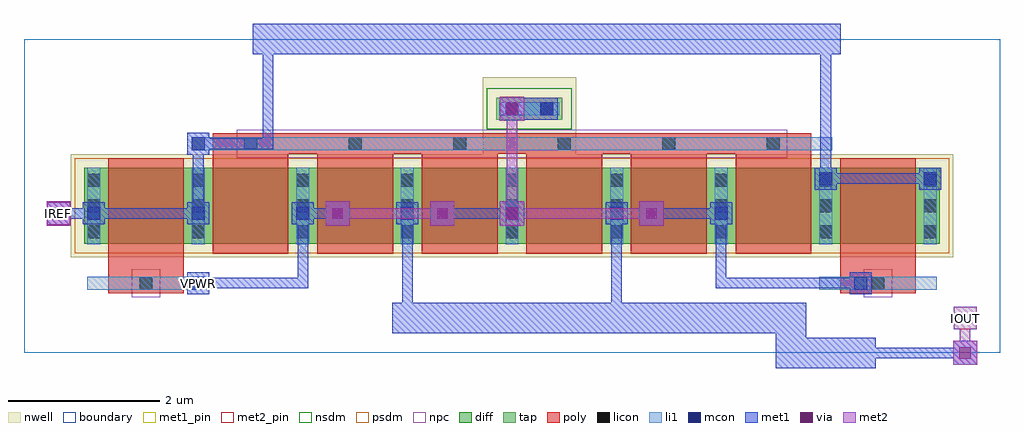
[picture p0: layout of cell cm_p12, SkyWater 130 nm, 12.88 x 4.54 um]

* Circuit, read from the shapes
.subckt cm_p12 IOUT IREF VPWR
XM1 IREF VPWR IREF VPWR sky130_fd_pr__pfet_01v8 w=1 l=1 m=2
XM2 VPWR IREF IREF VPWR sky130_fd_pr__pfet_01v8 w=1 l=1 m=2
XM3 IOUT IREF VPWR VPWR sky130_fd_pr__pfet_01v8 w=1 l=1 m=4
.ends

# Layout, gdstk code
import gdstk
lib = gdstk.Library(unit=1e-6, precision=1e-09)
def R(c, l, rs):  # rectangles x0, y0, x1, y1
    for r in rs: c.add(gdstk.rectangle(r[:2], r[2:], *l))
def A(c, l, x, y, w, h, nx, ny, dx, dy):  # array of equal rectangles
    R(c, l, [(x+i*dx, y+j*dy, x+i*dx+w, y+j*dy+h) for i in range(nx) for j in range(ny)])
nwell = (64, 20)
diff = (65, 20)
tap = (65, 44)
poly = (66, 20)
licon = (66, 44)
li1 = (67, 20)
mcon = (67, 44)
met1_pin = (68, 16)
met1 = (68, 20)
via = (68, 44)
met2_pin = (69, 16)
met2 = (69, 20)
nsdm = (93, 44)
psdm = (94, 20)
npc = (95, 20)
boundary = (235, 4)

cm_p12 = lib.new_cell('cm_p12')
R(cm_p12, nwell, [(0.615,1.26,12.265,2.62), (6.055,2.62,7.285,3.64)])
R(cm_p12, diff, [(0.795,1.44,12.085,2.44)])
R(cm_p12, tap, [(6.235,3.075,7.105,3.365)])
A(cm_p12, poly, 2.49, 1.31, 1, 1.45, 6, 1, 1.38, 0)
R(cm_p12, poly, [(1.11,0.785,2.11,1.055), (10.77,0.785,11.77,1.055), (1.11,0.92,2.11,2.57), (10.77,0.92,11.77,2.57), (2.49,2.625,10.39,2.895)])
A(cm_p12, licon, 0.835, 1.515, 0.17, 0.17, 9, 3, 1.38, 0.34)
A(cm_p12, licon, 2.905, 2.675, 0.17, 0.17, 6, 1, 1.38, 0)
R(cm_p12, licon, [(1.525,0.835,1.695,1.005), (11.185,0.835,11.355,1.005), (6.355,3.135,6.525,3.305), (6.815,3.135,6.985,3.305)])
A(cm_p12, li1, 0.835, 1.435, 0.17, 1.01, 9, 1, 1.38, 0)
R(cm_p12, li1, [(0.835,0.835,2.385,1.005), (10.495,0.835,12.045,1.005), (2.215,2.675,10.665,2.845), (6.275,3.135,7.065,3.305)])
A(cm_p12, mcon, 0.835, 1.755, 0.17, 0.17, 7, 1, 1.38, 0)
R(cm_p12, mcon, [(2.215,0.835,2.385,1.005), (10.955,0.835,11.125,1.005), (10.495,2.215,10.665,2.385), (11.875,2.215,12.045,2.385), (2.215,2.675,2.385,2.845), (6.355,3.135,6.525,3.305), (6.815,3.135,6.985,3.305)])
R(cm_p12, met1_pin, [(2.155,0.775,2.445,1.065)])
A(cm_p12, met1, 0.775, 1.695, 0.29, 0.29, 7, 1, 1.38, 0)
R(cm_p12, met1, [(9.92,-0.2,10.32,0.66), (9.92,-0.2,11.24,0.2), (12.26,-0.16,12.58,0.16), (10.97,-0.07,12.49,0.07), (4.86,0.26,8.02,0.66), (7.62,0.26,10.32,0.66), (4.99,0.39,5.13,1.91), (7.75,0.39,7.89,1.91), (2.155,0.775,2.445,1.065), (10.895,0.775,11.185,1.065), (2.23,0.85,3.75,0.99), (3.61,0.85,3.75,1.91), (9.13,0.85,9.27,1.91), (9.13,0.85,11.11,0.99), (0.3,1.68,0.62,2), (3.98,1.68,4.3,2), (5.36,1.68,5.68,2), (6.28,1.68,6.6,2), (8.12,1.68,8.44,2), (0.39,1.77,0.99,1.91), (0.85,1.77,2.37,1.91), (2.23,1.77,2.37,2.83), (3.61,1.77,4.21,1.91), (5.45,1.77,6.51,1.91), (8.21,1.77,9.27,1.91), (10.435,2.155,10.725,2.445), (11.815,2.155,12.105,2.445), (10.51,2.23,12.03,2.37), (10.51,2.23,10.65,4.21), (2.155,2.615,2.445,2.905), (2.23,2.69,3.29,2.83), (3.15,2.69,3.29,4.21), (6.28,3.06,6.6,3.38), (6.295,3.075,7.045,3.365), (6.37,3.15,6.51,3.29), (3.02,3.94,10.78,4.34)])
R(cm_p12, via, [(12.345,-0.075,12.495,0.075), (0.385,1.765,0.535,1.915), (4.065,1.765,4.215,1.915), (5.445,1.765,5.595,1.915), (6.365,1.765,6.515,1.915), (8.205,1.765,8.355,1.915), (6.365,3.145,6.515,3.295)])
R(cm_p12, met2_pin, [(12.27,0.31,12.57,0.61), (0.31,1.69,0.61,1.99)])
R(cm_p12, met2, [(12.26,-0.16,12.58,0.16), (12.35,-0.07,12.49,0.53), (12.27,0.31,12.57,0.61), (12.35,0.39,12.49,0.53), (0.3,1.68,0.62,2), (3.98,1.68,4.3,2), (5.36,1.68,5.68,2), (6.28,1.68,6.6,2), (8.12,1.68,8.44,2), (0.31,1.69,0.61,1.99), (0.39,1.77,0.53,1.91), (4.07,1.77,5.59,1.91), (6.37,1.77,6.51,3.29), (6.37,1.77,8.35,1.91), (6.28,3.06,6.6,3.38)])
R(cm_p12, nsdm, [(6.11,2.95,7.23,3.49)])
R(cm_p12, psdm, [(0.67,1.315,12.21,2.565)])
R(cm_p12, npc, [(1.425,0.735,1.795,1.105), (11.085,0.735,11.455,1.105), (2.805,2.575,10.075,2.945)])
R(cm_p12, boundary, [(0,0,12.88,4.14)])
cm_p12.add(gdstk.Label('VPWR', (2.3,0.92), layer=68, texttype=5))
cm_p12.add(gdstk.Label('IREF', (0.46,1.84), layer=69, texttype=5))
cm_p12.add(gdstk.Label('IOUT', (12.42,0.46), layer=69, texttype=5))
cm_p12.add(gdstk.Label('VPWR', (2.3,0.92), layer=68, texttype=16))
cm_p12.add(gdstk.Label('IREF', (0.46,1.84), layer=69, texttype=16))
cm_p12.add(gdstk.Label('IOUT', (12.42,0.46), layer=69, texttype=16))

lib.write_gds('cm_p12.gds')
